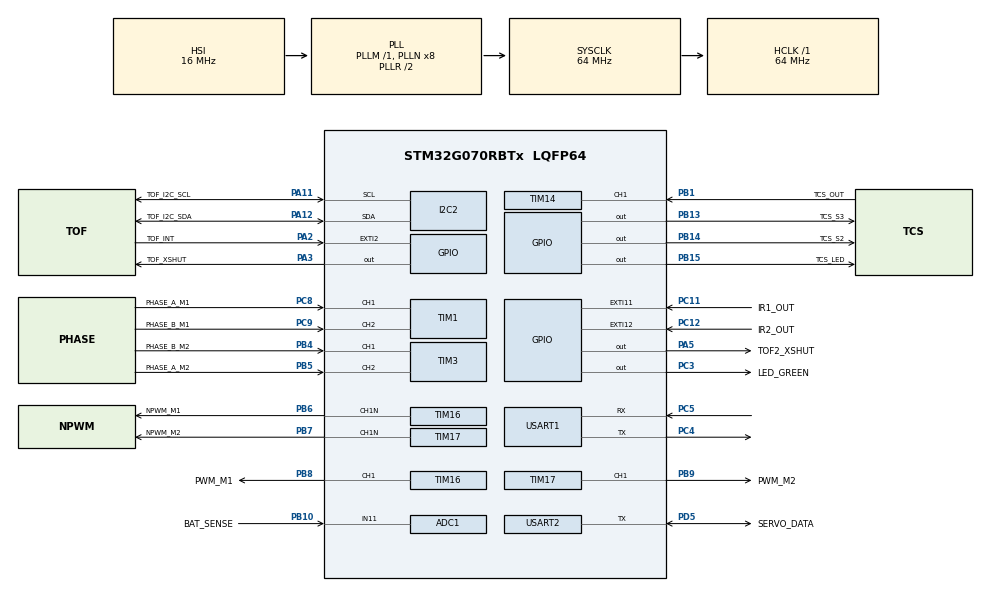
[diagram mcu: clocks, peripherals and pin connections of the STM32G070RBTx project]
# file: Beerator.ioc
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ADC1.Channel-0\#ChannelRegularConversion=ADC_CHANNEL_11
ADC1.NbrOfConversionFlag=1
ADC1.Rank-0\#ChannelRegularConversion=1
ADC1.SamplingTime-0\#ChannelRegularConversion=ADC_SAMPLINGTIME_COMMON_1
ADC1.SelectedChannel=ADC_CHANNEL_11
ADC1.master=1
FREERTOS.Tasks01=defaultTask,0,128,StartDefaultTask,Default,NULL,Dynamic,NULL,NULL
FREERTOS.configCHECK_FOR_STACK_OVERFLOW=1
FREERTOS.configTOTAL_HEAP_SIZE=25000
FREERTOS.configUSE_NEWLIB_REENTRANT=1
I2C2.Timing=0x10707DBC
Mcu.Family=STM32G0
Mcu.Name=STM32G070RBTx
Mcu.Package=LQFP64
NVIC.EXTI4_15_IRQn=true\:3\:0\:false\:false\:true\:true\:true\:true\:true
NVIC.TIM14_IRQn=true\:3\:0\:false\:false\:true\:true\:true\:true\:true
NVIC.TIM16_IRQn=true\:3\:0\:false\:false\:true\:true\:true\:true\:true
NVIC.TIM17_IRQn=true\:3\:0\:false\:false\:true\:true\:true\:true\:true
NVIC.TIM6_IRQn=true\:3\:0\:false\:false\:true\:false\:false\:true\:true
NVIC.TimeBase=TIM6_IRQn
NVIC.TimeBaseIP=TIM6
NVIC.USART1_IRQn=true\:3\:0\:false\:false\:true\:true\:true\:true\:true
NVIC.USART2_IRQn=true\:3\:0\:false\:false\:true\:true\:true\:true\:true
PA11\ [PA9].GPIO_Label=TOF_I2C_SCL
PA11\ [PA9].Mode=I2C
PA11\ [PA9].Signal=I2C2_SCL
PA12\ [PA10].GPIO_Label=TOF_I2C_SDA
PA12\ [PA10].Mode=I2C
PA12\ [PA10].Signal=I2C2_SDA
PA13.Mode=Serial_Wire
PA13.Signal=SYS_SWDIO
PA14-BOOT0.Mode=Serial_Wire
PA14-BOOT0.Signal=SYS_SWCLK
PA2.GPIO_Label=TOF_INT
PA2.Signal=GPXTI2
PA3.GPIO_Label=TOF_XSHUT
PA3.Signal=GPIO_Output
PA5.GPIO_Label=TOF2_XSHUT
PA5.Signal=GPIO_Output
PB1.GPIO_Label=TCS_OUT
PB1.Signal=S_TIM14_CH1
PB10.GPIO_Label=BAT_SENSE
PB10.Mode=IN11
PB10.Signal=ADC1_IN11
PB13.GPIO_Label=TCS_S3
PB13.Signal=GPIO_Output
PB14.GPIO_Label=TCS_S2
PB14.Signal=GPIO_Output
PB15.GPIO_Label=TCS_LED
PB15.Signal=GPIO_Output
PB4.GPIO_Label=PHASE_B_M2
PB4.Signal=S_TIM3_CH1
PB5.GPIO_Label=PHASE_A_M2
PB5.Signal=S_TIM3_CH2
PB6.GPIO_Label=NPWM_M1
PB6.Mode=PWM Generation1 CH1 CH1N
PB6.Signal=TIM16_CH1N
PB7.GPIO_Label=NPWM_M2
PB7.Mode=PWM Generation1 CH1 CH1N
PB7.Signal=TIM17_CH1N
PB8.GPIO_Label=PWM_M1
PB8.Signal=S_TIM16_CH1
PB9.GPIO_Label=PWM_M2
PB9.Signal=S_TIM17_CH1
PC11.GPIO_Label=IR1_OUT
PC11.GPIO_ModeDefaultEXTI=GPIO_MODE_IT_RISING
PC11.GPIO_PuPd=GPIO_NOPULL
PC11.Signal=GPXTI11
PC12.GPIO_Label=IR2_OUT
PC12.GPIO_ModeDefaultEXTI=GPIO_MODE_IT_RISING
PC12.GPIO_PuPd=GPIO_NOPULL
PC12.Signal=GPXTI12
PC3.GPIO_Label=LED_GREEN
PC3.Signal=GPIO_Output
PC4.Mode=Asynchronous
PC4.Signal=USART1_TX
PC5.Mode=Asynchronous
PC5.Signal=USART1_RX
PC8.GPIO_Label=PHASE_A_M1
PC8.Signal=S_TIM1_CH1
PC9.GPIO_Label=PHASE_B_M1
PC9.Signal=S_TIM1_CH2
PD5.GPIO_Label=SERVO_DATA
PD5.Mode=Half_duplex(single_wire_mode)
PD5.Signal=USART2_TX
PF0-OSC_IN\ (PF0).Mode=HSE-External-Oscillator
PF0-OSC_IN\ (PF0).Signal=RCC_OSC_IN
PF1-OSC_OUT\ (PF1).Mode=HSE-External-Oscillator
PF1-OSC_OUT\ (PF1).Signal=RCC_OSC_OUT
ProjectManager.HeapSize=0x200
ProjectManager.StackSize=0x400
ProjectManager.TargetToolchain=STM32CubeIDE
RCC.ADCFreq_Value=64000000
RCC.AHBFreq_Value=64000000
RCC.CortexFreq_Value=64000000
RCC.EXTERNAL_CLOCK_VALUE=48000
RCC.HCLKFreq_Value=64000000
RCC.HSE_VALUE=8000000
RCC.HSI_VALUE=16000000
RCC.LSE_VALUE=32768
RCC.SYSCLKFreq_VALUE=64000000
RCC.SYSCLKSource=RCC_SYSCLKSOURCE_PLLCLK
RCC.VCOOutputFreq_Value=128000000
SH.S_TIM14_CH1.0=TIM14_CH1,Input_Capture1_from_TI1
SH.S_TIM16_CH1.0=TIM16_CH1,PWM Generation1 CH1 CH1N
SH.S_TIM17_CH1.0=TIM17_CH1,PWM Generation1 CH1 CH1N
SH.S_TIM1_CH1.0=TIM1_CH1,Encoder_Interface
SH.S_TIM1_CH2.0=TIM1_CH2,Encoder_Interface
SH.S_TIM3_CH1.0=TIM3_CH1,Encoder_Interface
SH.S_TIM3_CH2.0=TIM3_CH2,Encoder_Interface
TIM1.EncoderMode=TIM_ENCODERMODE_TI12
TIM14.Channel=TIM_CHANNEL_1
TIM14.Prescaler=64-1
TIM16.AutoReloadPreload=TIM_AUTORELOAD_PRELOAD_ENABLE
TIM16.Channel=TIM_CHANNEL_1
TIM16.Period=100-1
TIM16.Prescaler=25-1
TIM16.Pulse=90
TIM17.AutoReloadPreload=TIM_AUTORELOAD_PRELOAD_ENABLE
TIM17.Channel=TIM_CHANNEL_1
TIM17.OCIdleState_1=TIM_OCIDLESTATE_RESET
TIM17.OCNIdleState_1=TIM_OCNIDLESTATE_RESET
TIM17.Period=100-1
TIM17.Prescaler=26-1
TIM17.Pulse=90
TIM3.CounterMode=TIM_COUNTERMODE_UP
TIM3.EncoderMode=TIM_ENCODERMODE_TI12
USART1.VirtualMode-Asynchronous=VM_ASYNC
USART2.BaudRate=1000000
USART2.VirtualMode-Half_duplex(single_wire_mode)=VM_ASYNC
VP_FREERTOS_VS_CMSIS_V1.Mode=CMSIS_V1
VP_SYS_VS_tim6.Mode=TIM6
VP_TIM14_VS_ClockSourceINT.Mode=Enable_Timer
VP_TIM16_VS_ClockSourceINT.Mode=Enable_Timer
VP_TIM17_VS_ClockSourceINT.Mode=Enable_Timer
board=custom

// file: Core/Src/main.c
/* USER CODE BEGIN Header */
/**
******************************************************************************
* @file           : main.c
* @brief          : Main program body
******************************************************************************
* @attention
*
* Copyright (c) 2022 STMicroelectronics.
* All rights reserved.
*
* This software is licensed under terms that can be found in the LICENSE file
* in the root directory of this software component.
* If no LICENSE file comes with this software, it is provided AS-IS.
*
******************************************************************************
*/
/* USER CODE END Header */
#include "main.h"
#include "cmsis_os.h"
#include "adc.h"
#include "i2c.h"
#include "tim.h"
#include "usart.h"
#include "gpio.h"

/* USER CODE BEGIN Includes */
#include <stdio.h>
#include <stdlib.h>
#include <string.h>

#include "motor_drive.h"
#include "shell.h"
#include "drv_uart1.h"
#include "XL320.h"
#include "asserv.h"
#include "tof.h"
#include "TCS3200.h"
/* USER CODE END Includes */

/* USER CODE BEGIN PD */
#define STACK_SIZE 300
#define ANGLE_ERROR 5
#define TIMCLOCK   64000000
#define PRESCALAR  64
/* USER CODE END PD */

/* USER CODE BEGIN PM */
char * logo = "\r\n\n\n .oPYo. .oPYo. .oPYo.  .oPYo.      .oo ooooo .oPYo.  .oPYo.\r\n8   `8 8.     8.      8   `8     .P 8   8   8    8  8   `8\r\no8YooP' `boo   `boo   o8YooP'    .P  8   8   8    8 o8YooP'\r\n 8   `b .P     .P      8   `b   oPooo8   8   8    8  8   `b\r\n8    8 8      8       8    8  .P    8   8   8    8  8    8\r\n8oooP' `YooP' `YooP'  8    8 .P     8   8   `YooP'  8    8\r\n:......::.....::.....::..:::....:::::..::..:::.....::..:::..\r\n::::::::::::::::::::::::::::::::::::::::::::::::::::::::::::\r\n::::::::::::::::::::::::::::::::::::::::::::::::::::::::::::\r\n\r\n\r\n\r\n";

/* USER CODE END PM */

/* USER CODE BEGIN PV */

//Shell
h_shell_t h_shell;

// Motors
h_motor_t motor1;
h_motor_t motor2;
h_motors_t motors;
pos_R pos;

// Servo
h_XL320_t XL320;

//TOF
TOF_InitStruct tof;

//Color Sensor
int red_freq =0;
int green_freq=0;
int flag=0;

//parametre Robot

float angle;
float distance;
int mesure ;

//TCS3200
TCS3200_struct *TCS3200_st_color;

//Handlers

TaskHandle_t xOpenXL320Handle = NULL;
TaskHandle_t xCloseXL320Handle = NULL;
TaskHandle_t xBorderDetectionHandle = NULL;
TaskHandle_t xMotorSpeedControl = NULL;
TaskHandle_t xTOFMesure = NULL;
TaskHandle_t xTurnHandle = NULL;
TaskHandle_t xTurnReverseRightHandle = NULL;
TaskHandle_t xTurnReverseLeftHandle = NULL;
TaskHandle_t  xGetPosHandle=NULL;
TaskHandle_t xAvanceHandle=NULL;
TaskHandle_t xBackHandle=NULL;
TaskHandle_t xSearchHandle=NULL;
TaskHandle_t xColorHandle=NULL;

//Global

float distance = 100;
int borderDetected = 0;
/* USER CODE END PV */

void SystemClock_Config(void);
void MX_FREERTOS_Init(void);

/* USER CODE BEGIN 0 */

uint32_t IC_Val1 = 0;
uint32_t IC_Val2 = 0;
uint32_t Difference = 0;
int Is_First_Captured = 0;

/* Measure Frequency */
float frequency = 0;

void HAL_TIM_IC_CaptureCallback(TIM_HandleTypeDef *htim)
{
if (htim->Channel == HAL_TIM_ACTIVE_CHANNEL_1)
{
	if (Is_First_Captured==0) // if the first rising edge is not captured
	{
		IC_Val1 = HAL_TIM_ReadCapturedValue(htim, TIM_CHANNEL_1); // read the first value
		Is_First_Captured = 1;  // set the first captured as true
	}

	else   // If the first rising edge is captured, now we will capture the second edge
	{
		IC_Val2 = HAL_TIM_ReadCapturedValue(htim, TIM_CHANNEL_1);  // read second value

		if (IC_Val2 > IC_Val1)
		{
			Difference = IC_Val2-IC_Val1;
		}

		else if (IC_Val1 > IC_Val2)
		{
			Difference = (0xffff - IC_Val1) + IC_Val2;
		}

		float refClock = TIMCLOCK/(PRESCALAR);

		frequency = refClock/Difference;

		__HAL_TIM_SET_COUNTER(htim, 0);  // reset the counter
		Is_First_Captured = 0; // set it back to false
	}
}
}

int __io_putchar(int chr)
{
HAL_UART_Transmit(&UART_DEVICE, (uint8_t*)&chr, 1, HAL_MAX_DELAY);
return chr;
}

// Task

void Start_Shell(void* pvParameters){
shell_run(&h_shell);
vTaskDelete(NULL);
}

void Motor_Speed_Control(void * PvParameters){
motor2.htim_motor->Instance->CCR1 = 20;
motor1.htim_motor->Instance->CCR1 = 20;
xTaskNotifyGive(xSearchHandle);
for(;;){
	pid_vitesse(&motor2);
	pid_vitesse(&motor1);
	//		printf("Motor Controled \r\n");
	vTaskDelay(100);
}
vTaskDelete(NULL);
}

void Get_Position(void*PvParameters)
{
for(;;)
{
	update_position(&pos, &motor1);
	update_position(&pos, &motor2);
	//		printf("Position Updated \r\n");

	vTaskDelay(50);
}
vTaskDelete(NULL);
}

void Border_Detected(void * PvParameters){
float angle=35;
for(;;){
	ulTaskNotifyTake(pdTRUE, portMAX_DELAY);
	motor_stop(&motor2);
	motor_stop(&motor1);
	float buff_r = pos.dR;
	float buff_l = pos.dL;

	motor_run_reverse(&motor1);
	motor_run_reverse(&motor2);

	while((abs(buff_r - pos.dR) < 100) && (abs(buff_l - pos.dL) < 100))
	{
		if(abs(buff_r - pos.dR) > 100){
			motor_stop(&motor1);

		}
		if(abs(buff_l - pos.dL) > 100){
			motor_stop(&motor2);

		}
	}
	motor_stop(&motor1);
	motor_stop(&motor2);

	float buff=pos.alpha;
	motor_run_reverse(&motor2);
	while(abs(angle-abs(buff-pos.alpha))>ANGLE_ERROR)
	{

	}
	motor_stop(&motor2);
	xTaskNotifyGive(xSearchHandle);
	borderDetected = 0 ;
}
vTaskDelete(NULL);
}

void Search_Task(void* PvParameters){
for(;;){
	ulTaskNotifyTake(pdTRUE, portMAX_DELAY);
	int delay = rand() % 5000;
	motor_stop(&motor2);
	motor_stop(&motor1);
	motor2.speedInstruction =  50;
	motor_run_forward(&motor2);
	vTaskDelay(delay);
	motor2.speedInstruction =  SPEED_COMMAND;

	motor_run_forward(&motor1);
}
vTaskDelete(NULL);
}

void TOF_Task(void* PvParameters){
for(;;){
	mesure = TOF_measure();
	printf("mesure TOF: %d \r\n", mesure);
	if((mesure != -1) && (mesure > 20)){
		motor_stop(&motor1);
		motor_stop(&motor2);
		xTaskNotifyGive(xOpenXL320Handle);
		xTaskNotifyGive(xAvanceHandle);
	}
	if((mesure != -1) && (mesure < 20)){
		motor_stop(&motor1);
		motor_stop(&motor2);
		xTaskNotifyGive(xCloseXL320Handle);
		xTaskNotifyGive(xColorHandle);
		xTaskNotifyGive(xColorHandle);

	}
	vTaskDelay(100);
}
}

void Avance_Task(void*PvParameters)
{
for(;;)
{
	ulTaskNotifyTake(pdTRUE, portMAX_DELAY);
	float buff_r = pos.dR;
	float buff_l = pos.dL;
	motor_run_forward(&motor1);
	motor_run_forward(&motor2);
	while((abs(buff_r - pos.dR) < mesure) && (abs(buff_l - pos.dL) < mesure))
	{
		if(abs(buff_r - pos.dR) > mesure){
			motor_stop(&motor1);

		}
		if(abs(buff_l - pos.dL) > mesure){
			motor_stop(&motor2);

		}
	}
	motor_stop(&motor2);
	motor_stop(&motor1);
}
vTaskDelete(NULL);
}

void TCS3200_Task(void * pvParameterts)
{

	for(;;)
	{
		ulTaskNotifyTake(pdTRUE, portMAX_DELAY);

		if(flag==0)
		{

			TCS3200_Switch_S2(0);
			TCS3200_Switch_S3(0);
			HAL_TIM_IC_Start_IT(&htim14, TIM_CHANNEL_1);
			red_freq=frequency;
			printf("RED ---: %d \r\n  ",red_freq);
			HAL_TIM_IC_Stop_IT(&htim14, TIM_CHANNEL_1);
			TCS3200_Switch_S2(1);
			TCS3200_Switch_S3(1);

			flag++;

		}
		else
		{
			HAL_TIM_IC_Start_IT(&htim14, TIM_CHANNEL_1);
			green_freq=frequency;
			printf("Green --- : %d \r\n  ",green_freq);
			HAL_TIM_IC_Stop_IT(&htim14, TIM_CHANNEL_1);
			TCS3200_Switch_S2(0);
			TCS3200_Switch_S3(0);
			flag=0;

		}

	}
}

void XL320_Open(void * pvParameterts){
for(;;){
	ulTaskNotifyTake(pdTRUE, portMAX_DELAY);
	if(XL320_set_goal_position(&XL320, XL320_OPEN_ANGLE) != XL320_OK){
		printf("Error Opening XL320 \r\n");
		Error_Handler();
	};
}
vTaskDelete(NULL);
}

void XL320_Catch_Task(void * pvParameterts){
for(;;){
	ulTaskNotifyTake(pdTRUE, portMAX_DELAY);
	uint16_t XL320_Response = XL320_Catch(&XL320);
	if(XL320_Response == XL320_ERROR){
		printf("Error Catching XL320 \r\n");
		Error_Handler();
	}
}
vTaskDelete(NULL);
}
// Shell Function Text

int XL320_Open_Shell(h_shell_t * h_shell, int argc, char ** argv)
{
xTaskNotifyGive(xOpenXL320Handle);
return SHELL_OK;
}

int XL320_Catch_Shell(h_shell_t * h_shell, int argc, char ** argv)
{
xTaskNotifyGive(xCloseXL320Handle);
return SHELL_OK;
}

int Avance_shell()
{
xTaskNotifyGive(xAvanceHandle);
return SHELL_OK;
}

int Back_shell()
{
xTaskNotifyGive(xBackHandle);
return SHELL_OK;
}

int Turn_shell()
{
xTaskNotifyGive(xTurnReverseLeftHandle);
return SHELL_OK;
}

/* USER CODE END 0 */

int main(void)
{

  /* MCU Configuration--------------------------------------------------------*/

  /* Reset of all peripherals, Initializes the Flash interface and the Systick. */
  HAL_Init();

  /* Configure the system clock */
  SystemClock_Config();

  /* Initialize all configured peripherals */
  MX_GPIO_Init();
  MX_ADC1_Init();
  MX_I2C2_Init();
  MX_TIM1_Init();
  MX_TIM3_Init();
  MX_TIM14_Init();
  MX_TIM16_Init();
  MX_USART1_UART_Init();
  MX_USART2_UART_Init();
  MX_TIM17_Init();
  /* USER CODE BEGIN 2 */
printf(logo);

// Init XL320
printf("Initialisation XL320 ... \r\n");

XL320.firmware_version = 0;
XL320.model_number = 0;
XL320.uart = &huart2;
XL320.id = XL320_ID;

if(XL320_Init(&XL320) != XL320_OK){
	printf("Error Initialising XL320...\r\n");
	Error_Handler();
};

printf("Initialisation XL320 Successful \r\n\n");

printf("Initialisation Motors ... \r\n");

motor1.htim_motor = MOTOR1_TIM;
motor1.htim_encoder = ENCODER_MOTOR_1_TIM;
motor1.htim_encoder->Instance->CNT = motor1.htim_encoder->Instance->ARR / 2;
motor1.Channel_Motor_Forward = MOTOR1_CHANNEL_FORWARD;
motor1.Channel_Motor_Reverse = MOTOR1_CHANNEL_REVERSE;
motor1.counter = motor1.htim_encoder->Instance->ARR / 2;
motor1.speedInstruction = 0;
motor1.isReverse = 0;
motor1.status = MOTOR_PAUSED;

motor2.htim_motor = MOTOR2_TIM;
motor2.htim_encoder = ENCODER_MOTOR_2_TIM;
motor2.htim_encoder->Instance->CNT = motor2.htim_encoder->Instance->ARR / 2;
motor2.Channel_Motor_Forward = MOTOR2_CHANNEL_FORWARD;
motor2.Channel_Motor_Reverse = MOTOR2_CHANNEL_REVERSE;
motor2.counter = motor2.htim_encoder->Instance->ARR / 2;
motor2.speedInstruction = 0;
motor2.isReverse = 1;
motor2.status = MOTOR_PAUSED;

printf("Initialisation Motor Control ... \r\n");

HAL_TIM_Encoder_Start_IT(ENCODER_MOTOR_1_TIM, TIM_CHANNEL_ALL);
HAL_TIM_Encoder_Start_IT(ENCODER_MOTOR_2_TIM, TIM_CHANNEL_ALL);

pos.dR = 0;
pos.dL = 0;
pos.d_alpha = 0;
pos.alpha = 0;

printf("Initialisation Motors Successful \r\n\n");

//TOF
printf("Initialisation TOF ... \r\n");

	tof.I2cHandle = &hi2c2;
	if(TOF_init(&tof) != 1){
		Error_Handler();
	};
//TCS3200

TCS3200_Init();

printf("Initialisation TOF Successful \r\n\n");

//Shell Configuration
printf("Launching Shell .... \r\n");
h_shell.drv.receive = drv_uart1_receive;
h_shell.drv.transmit = drv_uart1_transmit;
h_shell.pos = 0;
h_shell.xHandleShell = NULL;

shell_init(&h_shell);
shell_add(&h_shell, 'O', XL320_Open_Shell, "Open XL320");
shell_add(&h_shell, 'C', XL320_Catch_Shell, "Catch XL320");
shell_add(&h_shell, 'a', Avance_shell, "Avance ");
shell_add(&h_shell, 't', Turn_shell, "Recule ");

// Creating Tasks

BaseType_t xReturned;

xReturned = xTaskCreate(Motor_Speed_Control, "SpeedControl", 500, NULL, tskIDLE_PRIORITY + 6, &xMotorSpeedControl);
if(xReturned != pdPASS){
	printf("Error Creating the task \r\n");
}
xReturned = xTaskCreate(Get_Position, "Position", 200, NULL, tskIDLE_PRIORITY + 6, &xGetPosHandle);
if(xReturned != pdPASS){
	printf("Error Creating the task \r\n");
}
xReturned = xTaskCreate(Border_Detected, "Border Detection", 1000, NULL, tskIDLE_PRIORITY + 6 ,&xBorderDetectionHandle);
if(xReturned != pdPASS){
	printf("Error Creating the task \r\n");
}

	xReturned = xTaskCreate(Avance_Task, "Avance Task", 500, NULL, tskIDLE_PRIORITY + 5, &xAvanceHandle);
	if(xReturned != pdPASS){
		printf("Error Creating the task \r\n");
	}

xReturned = xTaskCreate(TOF_Task, "TOFMesure", 1000, NULL, tskIDLE_PRIORITY + 4, &xTOFMesure);
if(xReturned != pdPASS){
	printf("Error Creating the task \r\n");
}

xReturned = xTaskCreate(Search_Task, "Search Task", 100, NULL, tskIDLE_PRIORITY + 2, &xSearchHandle);
if(xReturned != pdPASS){
	printf("Error Creating the task \r\n");
}

xReturned = xTaskCreate(Start_Shell, "StartShell", STACK_SIZE, NULL, tskIDLE_PRIORITY, &h_shell.xHandleShell);
if(xReturned != pdPASS){
	printf("Error Creating the task \r\n");
}

xReturned = xTaskCreate(XL320_Catch_Task, "XL320_Close", STACK_SIZE, NULL, tskIDLE_PRIORITY + 5 ,&xCloseXL320Handle);
if(xReturned != pdPASS){
	printf("Error Creating the task \r\n");
}

xReturned = xTaskCreate(XL320_Open, "XL320_OPEN", STACK_SIZE, NULL, tskIDLE_PRIORITY + 5,&xOpenXL320Handle);
if(xReturned != pdPASS){
	printf("Error Creating the task \r\n");
}
xReturned = xTaskCreate(TCS3200_Task, "Color Sensor", STACK_SIZE, NULL, tskIDLE_PRIORITY + 5,&xColorHandle);
if(xReturned != pdPASS){
	printf("Error Creating the task \r\n");
}

vTaskStartScheduler();
  /* USER CODE END 2 */

  /* Call init function for freertos objects (in freertos.c) */
  MX_FREERTOS_Init();

  /* Start scheduler */
  osKernelStart();

  /* We should never get here as control is now taken by the scheduler */
  /* Infinite loop */
while (1)
{

}
}

void SystemClock_Config(void)
{
  RCC_OscInitTypeDef RCC_OscInitStruct = {0};
  RCC_ClkInitTypeDef RCC_ClkInitStruct = {0};

  /** Configure the main internal regulator output voltage
  */
  HAL_PWREx_ControlVoltageScaling(PWR_REGULATOR_VOLTAGE_SCALE1);

  /** Initializes the RCC Oscillators according to the specified parameters
  * in the RCC_OscInitTypeDef structure.
  */
  RCC_OscInitStruct.OscillatorType = RCC_OSCILLATORTYPE_HSI;
  RCC_OscInitStruct.HSIState = RCC_HSI_ON;
  RCC_OscInitStruct.HSIDiv = RCC_HSI_DIV1;
  RCC_OscInitStruct.HSICalibrationValue = RCC_HSICALIBRATION_DEFAULT;
  RCC_OscInitStruct.PLL.PLLState = RCC_PLL_ON;
  RCC_OscInitStruct.PLL.PLLSource = RCC_PLLSOURCE_HSI;
  RCC_OscInitStruct.PLL.PLLM = RCC_PLLM_DIV1;
  RCC_OscInitStruct.PLL.PLLN = 8;
  RCC_OscInitStruct.PLL.PLLP = RCC_PLLP_DIV2;
  RCC_OscInitStruct.PLL.PLLR = RCC_PLLR_DIV2;
  if (HAL_RCC_OscConfig(&RCC_OscInitStruct) != HAL_OK)
  {
    Error_Handler();
  }

  /** Initializes the CPU, AHB and APB buses clocks
  */
  RCC_ClkInitStruct.ClockType = RCC_CLOCKTYPE_HCLK|RCC_CLOCKTYPE_SYSCLK
                              |RCC_CLOCKTYPE_PCLK1;
  RCC_ClkInitStruct.SYSCLKSource = RCC_SYSCLKSOURCE_PLLCLK;
  RCC_ClkInitStruct.AHBCLKDivider = RCC_SYSCLK_DIV1;
  RCC_ClkInitStruct.APB1CLKDivider = RCC_HCLK_DIV1;

  if (HAL_RCC_ClockConfig(&RCC_ClkInitStruct, FLASH_LATENCY_2) != HAL_OK)
  {
    Error_Handler();
  }
}

/* USER CODE BEGIN 4 */
void HAL_UART_RxCpltCallback(UART_HandleTypeDef *huart)
{
if(huart == &UART_DEVICE){
	BaseType_t xHigherPriorityTaskWoken = pdFALSE;
	vTaskNotifyGiveFromISR(h_shell.xHandleShell, &xHigherPriorityTaskWoken);
	portYIELD_FROM_ISR(xHigherPriorityTaskWoken);
}

}

void HAL_GPIO_EXTI_Rising_Callback(uint16_t GPIO_Pin){
if(borderDetected != 1){
	borderDetected = 1;
	BaseType_t xHigherPriorityTaskWoken = pdFALSE;
	if((GPIO_Pin == IR1_OUT_Pin)){
		vTaskNotifyGiveFromISR(xBorderDetectionHandle, &xHigherPriorityTaskWoken);
		portYIELD_FROM_ISR(xHigherPriorityTaskWoken);
	}
	if( (GPIO_Pin == IR2_OUT_Pin)){
		vTaskNotifyGiveFromISR(xBorderDetectionHandle, &xHigherPriorityTaskWoken);
		portYIELD_FROM_ISR(xHigherPriorityTaskWoken);
	}
}
}

/* USER CODE END 4 */

void HAL_TIM_PeriodElapsedCallback(TIM_HandleTypeDef *htim)
{
  if (htim->Instance == TIM6) {
    HAL_IncTick();
  }
}

void Error_Handler(void)
{
  /* USER CODE BEGIN Error_Handler_Debug */
/* User can add his own implementation to report the HAL error return state */
__disable_irq();
while (1)
{
	HAL_NVIC_SystemReset();
}
  /* USER CODE END Error_Handler_Debug */
}

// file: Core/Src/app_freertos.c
/* USER CODE BEGIN Header */
/**
  ******************************************************************************
  * File Name          : app_freertos.c
  * Description        : Code for freertos applications
  ******************************************************************************
  * @attention
  *
  * Copyright (c) 2022 STMicroelectronics.
  * All rights reserved.
  *
  * This software is licensed under terms that can be found in the LICENSE file
  * in the root directory of this software component.
  * If no LICENSE file comes with this software, it is provided AS-IS.
  *
  ******************************************************************************
  */
/* USER CODE END Header */

#include "FreeRTOS.h"
#include "task.h"
#include "main.h"
#include "cmsis_os.h"

osThreadId defaultTaskHandle;

void StartDefaultTask(void const * argument);

void MX_FREERTOS_Init(void); /* (MISRA C 2004 rule 8.1) */

/* Hook prototypes */
void vApplicationStackOverflowHook(xTaskHandle xTask, signed char *pcTaskName);

/* USER CODE BEGIN 4 */
__weak void vApplicationStackOverflowHook(xTaskHandle xTask, signed char *pcTaskName)
{
   /* Run time stack overflow checking is performed if
   configCHECK_FOR_STACK_OVERFLOW is defined to 1 or 2. This hook function is
   called if a stack overflow is detected. */
}
/* USER CODE END 4 */

void MX_FREERTOS_Init(void) {

  /* Create the thread(s) */
  /* definition and creation of defaultTask */
  osThreadDef(defaultTask, StartDefaultTask, osPriorityNormal, 0, 128);
  defaultTaskHandle = osThreadCreate(osThread(defaultTask), NULL);

}

void StartDefaultTask(void const * argument)
{
  for(;;)
  {
    osDelay(1);
  }
}
